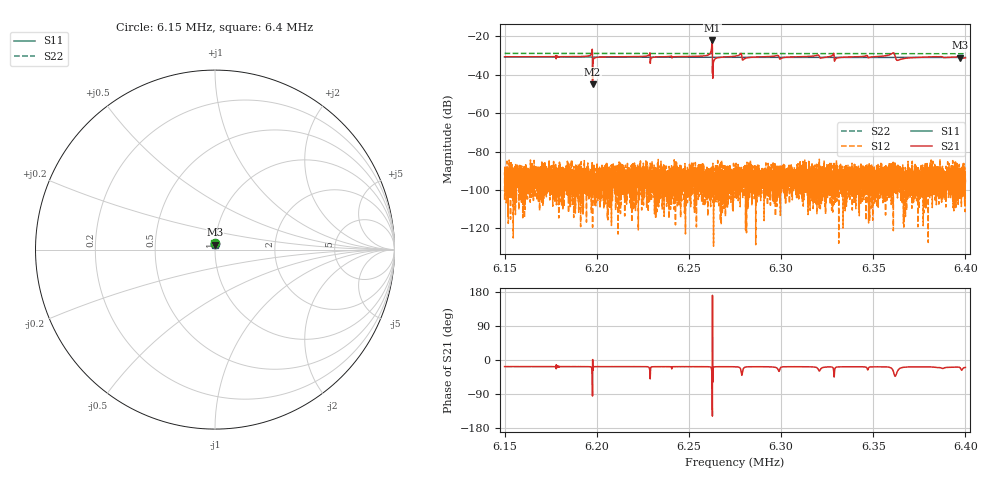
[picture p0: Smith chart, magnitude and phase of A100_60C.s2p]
!CETC41,AV3656A,ZGL00048,1.3.2
!Calibration ON (Full Solt 2-Port(Omit Isolation))
!Measurements: S11 S21 S12 S22
!2025-04-18 02:01
# Hz  S  dB  R 50.000
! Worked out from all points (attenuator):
!   6401 points, 6.15 MHz to 6.4 MHz, reference 50 ohm
!   highest |S21| = -22.18 dB at 6.2626 MHz (marker M1); lowest = -45.1 dB at 6.1977 MHz (marker M2)
!   lowest |S11| = -31.1 dB at 6.3973 MHz (marker M3), VSWR 1.06, Z = 49.9 + j2.8 ohm
!   |S11| at or under -10 dB: start of sweep to end of sweep
!   |S22| runs from -29.1 to -28.9 dB; largest |S21 - S12| = 0.078
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6150000  -30.81 85.1  -30.67 -17.3  -105.11 106.1  -28.91 91.1
6191680  -30.86 86.1  -30.51 -17.5  -100.90 26.2  -28.93 91.9
6196406  -30.86 86.2  -29.98 -17.7  -95.76 119.5  -28.93 91.9
6197734  -30.87 86.2  -45.09 -65.5  -119.41 137.9  -28.93 92.0
6198945  -30.87 86.3  -31.22 -17.6  -96.27 79.6  -28.94 92.0
6233359  -30.90 87.1  -30.72 -17.6  -96.04 174.8  -28.95 92.6
6257891  -30.92 87.6  -30.22 -17.6  -94.48 45.0  -28.98 93.0
6261484  -30.92 87.7  -29.06 -18.2  -94.16 -24.1  -28.98 93.1
6262617  -30.93 87.7  -22.18 -77.4  -90.42 108.0  -28.97 93.2
6264023  -30.93 87.7  -31.91 -18.0  -94.04 121.5  -28.98 93.2
6266016  -30.93 87.8  -31.09 -17.7  -101.16 -28.6  -28.99 93.2
6275000  -30.93 88.0  -30.38 -17.9  -100.45 125.4  -28.99 93.3
6277461  -30.94 88.1  -29.67 -19.8  -88.69 30.7  -28.99 93.4
6280078  -30.95 88.1  -31.70 -19.9  -90.72 110.1  -29.00 93.5
6316680  -30.97 88.9  -30.36 -18.2  -105.52 90.7  -29.02 94.1
6327539  -30.97 89.2  -30.19 -18.5  -97.36 65.6  -29.04 94.3
6330078  -30.97 89.2  -31.44 -18.8  -91.25 15.8  -29.04 94.3
6358359  -31.00 90.0  -29.83 -18.8  -92.34 111.2  -29.05 94.9
6360664  -31.02 89.9  -28.68 -26.8  -94.73 104.7  -29.06 94.9
6363633  -30.98 89.9  -32.42 -25.8  -93.37 14.5  -29.06 94.9
6397344  -31.05 90.8  -30.18 -21.6  -92.74 120.9  -29.08 95.5
6400000  -31.04 90.8  -31.19 -19.6  -94.65 -105.1  -29.08 95.5
